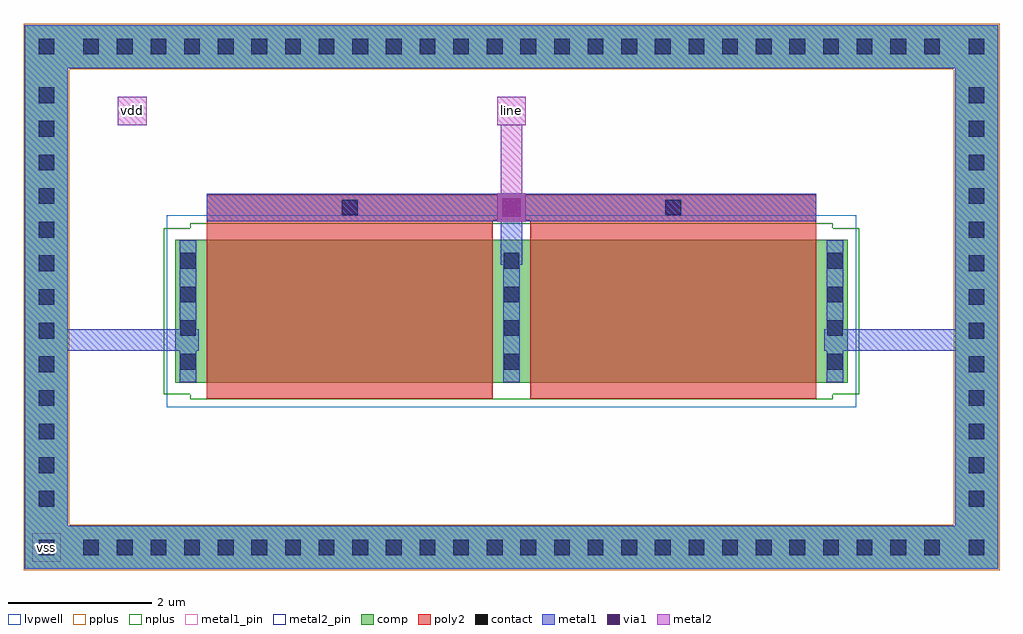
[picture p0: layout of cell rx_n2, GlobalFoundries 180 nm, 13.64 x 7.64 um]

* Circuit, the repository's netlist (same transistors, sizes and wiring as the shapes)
* NGSPICE file created from rx_n2.ext - technology: gf180mcuD

.subckt n_w2_l4_f2 a_n52_n200# a_852_n200# a_n852_n244# a_n940_n200# a_52_n244# VSUBS
X0 a_852_n200# a_52_n244# a_n52_n200# VSUBS nfet_03v3 ad=0.88p pd=4.88u as=0.52p ps=2.52u w=2u l=4u
X1 a_n52_n200# a_n852_n244# a_n940_n200# VSUBS nfet_03v3 ad=0.52p pd=2.52u as=0.88p ps=4.88u w=2u l=4u
.ends

.subckt rx_n2 line vdd vss
XD line vss line vss line vss n_w2_l4_f2
.ends

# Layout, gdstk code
import gdstk
lib = gdstk.Library(unit=1e-6, precision=1e-09)
def R(c, l, rs):  # rectangles x0, y0, x1, y1
    for r in rs: c.add(gdstk.rectangle(r[:2], r[2:], *l))
def A(c, l, x, y, w, h, nx, ny, dx, dy):  # array of equal rectangles
    R(c, l, [(x+i*dx, y+j*dy, x+i*dx+w, y+j*dy+h) for i in range(nx) for j in range(ny)])
comp = (22, 0)
poly2 = (30, 0)
pplus = (31, 0)
nplus = (32, 0)
contact = (33, 0)
metal1 = (34, 0)
metal1_pin = (34, 10)
via1 = (35, 0)
metal2 = (36, 0)
metal2_pin = (36, 10)
lvpwell = (204, 0)

n_w2_l4_f2 = lib.new_cell('n_w2_l4_f2')
R(n_w2_l4_f2, comp, [(-4.7,-1,4.7,1)])
R(n_w2_l4_f2, poly2, [(-4.26,-1.22,-0.26,1.22), (0.26,-1.22,4.26,1.22)])
R(n_w2_l4_f2, nplus, [(-4.49,-1.23,4.49,-1.16), (-4.86,-1.16,4.86,1.16), (-4.49,1.16,4.49,1.23)])
A(n_w2_l4_f2, contact, -4.63, -0.815, 0.22, 0.22, 3, 4, 4.52, 0.47)
A(n_w2_l4_f2, metal1, -4.635, -0.99, 0.23, 1.98, 3, 1, 4.52, 0)
R(n_w2_l4_f2, lvpwell, [(-4.82,-1.34,4.82,1.34)])

rx_n2 = lib.new_cell('rx_n2')
R(rx_n2, comp, [(0,0,13.6,0.6), (0,0.6,0.6,7), (13,0.6,13.6,7), (0,7,13.6,7.6)])
R(rx_n2, poly2, [(2.54,4.6,6.54,4.87), (7.06,4.6,11.06,4.87), (2.54,4.87,11.06,5.23)])
R(rx_n2, pplus, [(-0.02,-0.02,13.62,0.62), (-0.02,0.62,0.62,6.98), (12.98,0.62,13.62,6.98), (-0.02,6.98,13.62,7.62)])
A(rx_n2, contact, 0.815, 0.19, 0.22, 0.22, 26, 2, 0.47, 7)
A(rx_n2, contact, 0.19, 0.87, 0.22, 0.22, 1, 13, 0, 0.47)
A(rx_n2, contact, 13.19, 0.87, 0.22, 0.22, 1, 13, 0, 0.47)
R(rx_n2, contact, [(0.19,0.19,0.41,0.41), (13.19,0.19,13.41,0.41), (4.43,4.94,4.65,5.16), (8.95,4.94,9.17,5.16), (0.19,7.19,0.41,7.41), (13.19,7.19,13.41,7.41)])
R(rx_n2, metal1, [(0,0,13.6,0.6), (0,0.6,0.6,3.05), (13,0.6,13.6,3.05), (0,3.05,2.43,3.35), (11.17,3.05,13.6,3.35), (0,3.35,0.6,7), (13,3.35,13.6,7), (6.65,4.25,6.95,4.85), (6.6,4.85,7,4.86), (2.54,4.86,11.06,5.24), (6.6,5.24,7,5.25), (0,7,13.6,7.6)])
R(rx_n2, metal1_pin, [(0.1,0.1,0.5,0.5)])
R(rx_n2, via1, [(6.67,4.92,6.93,5.18)])
R(rx_n2, metal2, [(6.6,4.85,7,5.25), (6.65,5.25,6.95,6.2), (1.3,6.2,1.7,6.6), (6.6,6.2,7,6.6)])
R(rx_n2, metal2_pin, [(1.3,6.2,1.7,6.6), (6.6,6.2,7,6.6)])
rx_n2.add(gdstk.Reference(n_w2_l4_f2, (6.8,3.6)))
rx_n2.add(gdstk.Label('line', (6.8,6.4), layer=36, texttype=10))
rx_n2.add(gdstk.Label('vdd', (1.5,6.4), layer=36, texttype=10))
rx_n2.add(gdstk.Label('vss', (0.3,0.3), layer=34, texttype=10))

lib.write_gds('rx_n2.gds')
